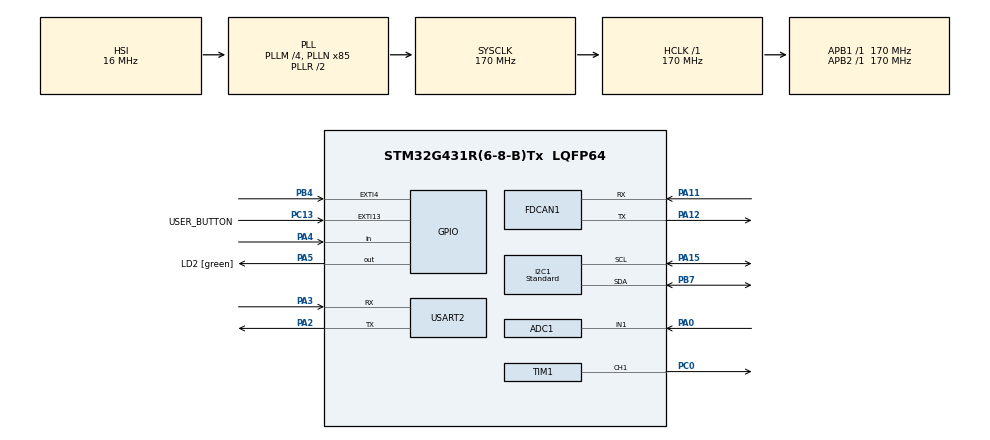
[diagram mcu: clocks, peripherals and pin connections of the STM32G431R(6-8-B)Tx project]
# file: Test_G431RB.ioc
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ADC1.Channel-2\#ChannelRegularConversion=ADC_CHANNEL_1
ADC1.NbrOfConversionFlag=1
ADC1.OffsetNumber-2\#ChannelRegularConversion=ADC_OFFSET_NONE
ADC1.Rank-2\#ChannelRegularConversion=1
ADC1.SamplingTime-2\#ChannelRegularConversion=ADC_SAMPLETIME_2CYCLES_5
ADC1.master=1
FDCAN1.AutoRetransmission=ENABLE
FDCAN1.CalculateBaudRateNominal=500000
FDCAN1.CalculateTimeBitNominal=2000
FDCAN1.CalculateTimeQuantumNominal=100.0
FDCAN1.DataSyncJumpWidth=4
FDCAN1.DataTimeSeg1=5
FDCAN1.DataTimeSeg2=4
FDCAN1.NominalPrescaler=17
FDCAN1.NominalTimeSeg1=16
FDCAN1.NominalTimeSeg2=3
FDCAN1.StdFiltersNbr=1
FDCAN1.TransmitPause=ENABLE
I2C1.I2C_Speed_Mode=I2C_Standard
I2C1.Timing=0x30A0A7FB
Mcu.Family=STM32G4
Mcu.Name=STM32G431R(6-8-B)Tx
Mcu.Package=LQFP64
NVIC.EXTI15_10_IRQn=true\:0\:0\:false\:false\:true\:true\:true\:true
NVIC.EXTI4_IRQn=true\:0\:0\:false\:false\:true\:true\:true\:true
NVIC.FDCAN1_IT0_IRQn=true\:0\:0\:false\:false\:true\:true\:true\:true
NVIC.PriorityGroup=NVIC_PRIORITYGROUP_4
NVIC.TIM2_IRQn=true\:0\:0\:false\:false\:true\:true\:true\:true
PA0.Mode=IN1-Single-Ended
PA0.Signal=ADC1_IN1
PA11.Mode=FDCAN_Activate
PA11.Signal=FDCAN1_RX
PA12.Mode=FDCAN_Activate
PA12.Signal=FDCAN1_TX
PA13.GPIO_Label=T_SWDIO
PA13.Mode=Serial_Wire
PA13.Signal=SYS_JTMS-SWDIO
PA14.GPIO_Label=T_SWCLK
PA14.Mode=Serial_Wire
PA14.Signal=SYS_JTCK-SWCLK
PA15.GPIO_Pu=GPIO_PULLUP
PA15.Mode=I2C
PA15.Signal=I2C1_SCL
PA2.Mode=Asynchronous
PA2.Signal=USART2_TX
PA3.Mode=Asynchronous
PA3.Signal=USART2_RX
PA4.Signal=GPIO_Input
PA5.GPIO_Label=LD2 [green]
PA5.Signal=GPIO_Output
PB3.GPIO_Label=T_SWO
PB3.Signal=SYS_JTDO-SWO
PB4.GPIO_ModeDefaultEXTI=GPIO_MODE_IT_RISING_FALLING
PB4.Signal=GPXTI4
PB7.GPIO_Pu=GPIO_PULLUP
PB7.Mode=I2C
PB7.Signal=I2C1_SDA
PC0.GPIO_PuPd=GPIO_PULLDOWN
PC0.Signal=S_TIM1_CH1
PC13.GPIO_Label=USER_BUTTON
PC13.Signal=GPXTI13
PC14-OSC32_IN.Mode=LSE-External-Oscillator
PC14-OSC32_IN.Signal=RCC_OSC32_IN
PC15-OSC32_OUT.Mode=LSE-External-Oscillator
PC15-OSC32_OUT.Signal=RCC_OSC32_OUT
PF0-OSC_IN.Mode=HSE-External-Oscillator
PF0-OSC_IN.Signal=RCC_OSC_IN
PF1-OSC_OUT.Mode=HSE-External-Oscillator
PF1-OSC_OUT.Signal=RCC_OSC_OUT
ProjectManager.HeapSize=0x200
ProjectManager.StackSize=0x400
ProjectManager.TargetToolchain=STM32CubeIDE
RCC.ADC12Freq_Value=170000000
RCC.AHBFreq_Value=170000000
RCC.APB1Freq_Value=170000000
RCC.APB1TimFreq_Value=170000000
RCC.APB2Freq_Value=170000000
RCC.APB2TimFreq_Value=170000000
RCC.CortexFreq_Value=170000000
RCC.EXTERNAL_CLOCK_VALUE=12288000
RCC.HCLKFreq_Value=170000000
RCC.HSE_VALUE=24000000
RCC.HSI48_VALUE=48000000
RCC.HSI_VALUE=16000000
RCC.PLLM=RCC_PLLM_DIV4
RCC.PLLN=85
RCC.RTCClockSelection=RCC_RTCCLKSOURCE_LSE
RCC.SYSCLKFreq_VALUE=170000000
RCC.SYSCLKSource=RCC_SYSCLKSOURCE_PLLCLK
RCC.USBFreq_Value=170000000
RCC.VCOOutputFreq_Value=340000000
SH.S_TIM1_CH1.0=TIM1_CH1,PWM Generation1 CH1
TIM1.Channel-PWM\ Generation1\ CH1=TIM_CHANNEL_1
TIM1.PeriodNoDither=99
TIM1.Prescaler=84
TIM2.PeriodNoDither=50000-1
TIM2.Prescaler=170-1
USART2.VirtualMode-Asynchronous=VM_ASYNC
VP_SYS_VS_DBSignals.Mode=DisableDeadBatterySignals
VP_TIM1_VS_ClockSourceINT.Mode=Internal
VP_TIM2_VS_ClockSourceINT.Mode=Internal
board=NUCLEO-G431RB

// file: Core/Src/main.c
/* USER CODE BEGIN Header */
/**
  ******************************************************************************
  * @file           : main.c
  * @brief          : Main program body
  ******************************************************************************
  * @attention
  *
  * Copyright (c) 2023 STMicroelectronics.
  * All rights reserved.
  *
  * This software is licensed under terms that can be found in the LICENSE file
  * in the root directory of this software component.
  * If no LICENSE file comes with this software, it is provided AS-IS.
  *
  ******************************************************************************
  */
/* USER CODE END Header */
#include "main.h"

ADC_HandleTypeDef hadc1;

FDCAN_HandleTypeDef hfdcan1;

I2C_HandleTypeDef hi2c1;

TIM_HandleTypeDef htim1;
TIM_HandleTypeDef htim2;

UART_HandleTypeDef huart2;

void SystemClock_Config(void);
static void MX_GPIO_Init(void);
static void MX_TIM1_Init(void);
static void MX_ADC1_Init(void);
static void MX_I2C1_Init(void);
static void MX_TIM2_Init(void);
static void MX_USART2_UART_Init(void);
static void MX_FDCAN1_Init(void);

int main(void)
{

  /* MCU Configuration--------------------------------------------------------*/

  /* Reset of all peripherals, Initializes the Flash interface and the Systick. */
  HAL_Init();

  /* Configure the system clock */
  SystemClock_Config();

  /* Initialize all configured peripherals */
  MX_GPIO_Init();
  MX_TIM1_Init();
  MX_ADC1_Init();
  MX_I2C1_Init();
  MX_TIM2_Init();
  MX_USART2_UART_Init();
  MX_FDCAN1_Init();
  /* USER CODE BEGIN 2 */

  // printInfo();
  // toggleUserLED();

#if defined(TEST_BH1750)
  BH1750_Init(CONT_HI_RES, ADDR_0V, &hi2c1);
#endif  // TEST_BH1750

#if defined(TEST_TCS3472)
  HALStatus = TCS3472_setup(&tcs3472, &hi2c1, TCS34725_I2C_ADDRESS);
  if (HALStatus != HAL_OK) {
    xlog("%s:%d, TCS3472 not ready \n\r", __func__, __LINE__);
  } else {
    xlog("%s:%d, TCS3472 ready \n\r", __func__, __LINE__);
    TCS3472_enable(&tcs3472);
  }
#endif  // TEST_TCS3472

#if defined(TEST_ICM42607x)
  ICM42607x_Init();
#endif  // TEST_ICM42607x

  ConfigFDCAN();

  xlog("%s:%d, init finish... \n\r", __func__, __LINE__);

  /* USER CODE END 2 */

  /* Infinite loop */
  /* USER CODE BEGIN WHILE */
  while (1)
  {

#if defined(USE_PS2)
    if (task_PS2) {
      task_PS2 = false;
      PS2_Read();
      PS2_control();
    }
#endif // USE_PS2

    /* USER CODE END WHILE */

    /* USER CODE BEGIN 3 */

#if defined(TEST_CAN)
    getFWVersion();
    // HAL_Delay(1);
#endif // TEST_CAN

#if defined(TEST_TCS3472)
    // test TCS3472
    // TCS3472_readColor(&tcs3472, &colorData);
    // xlog("%s:%d, r:%d, g:%d, b:%d, c:%d \n\r", __func__, __LINE__, colorData.r, colorData.g, colorData.b, colorData.c);
    // float factor = colorData.c / 255.0;
    // xlog("%s:%d, r:%.1f, g:%.1f, b:%.1f \n\r", __func__, __LINE__, colorData.r/factor, colorData.g/factor, colorData.b/factor);
    // HAL_Delay(1000);
#endif // TEST_TCS3472

#if defined(TEST_ICM42607x)

    // xlog("%s:%d ========================\n\r", __func__, __LINE__);
    // ICM42607x_WhoAmI();
    // ICM42607x_ReadTemperature();
    // ICM42607x_ReadTemperatureMultiple();
    // ICM42607x_ReadAccel();
    // ICM42607x_ReadAccelMultiple();
    // ICM42607x_ReadGyro();
    // ICM42607x_ReadGyroMultiple();
    ICM42607x_ReadAccelGyro();
    ICM42607x_QuaternionSolution();
    HAL_Delay(50);

#endif  // TEST_ICM42607x
  }
  /* USER CODE END 3 */
}

void SystemClock_Config(void)
{
  RCC_OscInitTypeDef RCC_OscInitStruct = {0};
  RCC_ClkInitTypeDef RCC_ClkInitStruct = {0};

  /** Configure the main internal regulator output voltage
  */
  HAL_PWREx_ControlVoltageScaling(PWR_REGULATOR_VOLTAGE_SCALE1_BOOST);

  /** Initializes the RCC Oscillators according to the specified parameters
  * in the RCC_OscInitTypeDef structure.
  */
  RCC_OscInitStruct.OscillatorType = RCC_OSCILLATORTYPE_HSI;
  RCC_OscInitStruct.HSIState = RCC_HSI_ON;
  RCC_OscInitStruct.HSICalibrationValue = RCC_HSICALIBRATION_DEFAULT;
  RCC_OscInitStruct.PLL.PLLState = RCC_PLL_ON;
  RCC_OscInitStruct.PLL.PLLSource = RCC_PLLSOURCE_HSI;
  RCC_OscInitStruct.PLL.PLLM = RCC_PLLM_DIV4;
  RCC_OscInitStruct.PLL.PLLN = 85;
  RCC_OscInitStruct.PLL.PLLP = RCC_PLLP_DIV2;
  RCC_OscInitStruct.PLL.PLLQ = RCC_PLLQ_DIV2;
  RCC_OscInitStruct.PLL.PLLR = RCC_PLLR_DIV2;
  if (HAL_RCC_OscConfig(&RCC_OscInitStruct) != HAL_OK)
  {
    Error_Handler();
  }

  /** Initializes the CPU, AHB and APB buses clocks
  */
  RCC_ClkInitStruct.ClockType = RCC_CLOCKTYPE_HCLK|RCC_CLOCKTYPE_SYSCLK
                              |RCC_CLOCKTYPE_PCLK1|RCC_CLOCKTYPE_PCLK2;
  RCC_ClkInitStruct.SYSCLKSource = RCC_SYSCLKSOURCE_PLLCLK;
  RCC_ClkInitStruct.AHBCLKDivider = RCC_SYSCLK_DIV1;
  RCC_ClkInitStruct.APB1CLKDivider = RCC_HCLK_DIV1;
  RCC_ClkInitStruct.APB2CLKDivider = RCC_HCLK_DIV1;

  if (HAL_RCC_ClockConfig(&RCC_ClkInitStruct, FLASH_LATENCY_4) != HAL_OK)
  {
    Error_Handler();
  }
}

static void MX_ADC1_Init(void)
{

  ADC_MultiModeTypeDef multimode = {0};
  ADC_ChannelConfTypeDef sConfig = {0};

  /** Common config
  */
  hadc1.Instance = ADC1;
  hadc1.Init.ClockPrescaler = ADC_CLOCK_SYNC_PCLK_DIV4;
  hadc1.Init.Resolution = ADC_RESOLUTION_12B;
  hadc1.Init.DataAlign = ADC_DATAALIGN_RIGHT;
  hadc1.Init.GainCompensation = 0;
  hadc1.Init.ScanConvMode = ADC_SCAN_DISABLE;
  hadc1.Init.EOCSelection = ADC_EOC_SINGLE_CONV;
  hadc1.Init.LowPowerAutoWait = DISABLE;
  hadc1.Init.ContinuousConvMode = DISABLE;
  hadc1.Init.NbrOfConversion = 1;
  hadc1.Init.DiscontinuousConvMode = DISABLE;
  hadc1.Init.ExternalTrigConv = ADC_SOFTWARE_START;
  hadc1.Init.ExternalTrigConvEdge = ADC_EXTERNALTRIGCONVEDGE_NONE;
  hadc1.Init.DMAContinuousRequests = DISABLE;
  hadc1.Init.Overrun = ADC_OVR_DATA_PRESERVED;
  hadc1.Init.OversamplingMode = DISABLE;
  if (HAL_ADC_Init(&hadc1) != HAL_OK)
  {
    Error_Handler();
  }

  /** Configure the ADC multi-mode
  */
  multimode.Mode = ADC_MODE_INDEPENDENT;
  if (HAL_ADCEx_MultiModeConfigChannel(&hadc1, &multimode) != HAL_OK)
  {
    Error_Handler();
  }

  /** Configure Regular Channel
  */
  sConfig.Channel = ADC_CHANNEL_1;
  sConfig.Rank = ADC_REGULAR_RANK_1;
  sConfig.SamplingTime = ADC_SAMPLETIME_2CYCLES_5;
  sConfig.SingleDiff = ADC_SINGLE_ENDED;
  sConfig.OffsetNumber = ADC_OFFSET_NONE;
  sConfig.Offset = 0;
  if (HAL_ADC_ConfigChannel(&hadc1, &sConfig) != HAL_OK)
  {
    Error_Handler();
  }

}

static void MX_FDCAN1_Init(void)
{

  hfdcan1.Instance = FDCAN1;
  hfdcan1.Init.ClockDivider = FDCAN_CLOCK_DIV1;
  hfdcan1.Init.FrameFormat = FDCAN_FRAME_CLASSIC;
  hfdcan1.Init.Mode = FDCAN_MODE_NORMAL;
  hfdcan1.Init.AutoRetransmission = ENABLE;
  hfdcan1.Init.TransmitPause = ENABLE;
  hfdcan1.Init.ProtocolException = DISABLE;
  hfdcan1.Init.NominalPrescaler = 17;
  hfdcan1.Init.NominalSyncJumpWidth = 1;
  hfdcan1.Init.NominalTimeSeg1 = 16;
  hfdcan1.Init.NominalTimeSeg2 = 3;
  hfdcan1.Init.DataPrescaler = 1;
  hfdcan1.Init.DataSyncJumpWidth = 4;
  hfdcan1.Init.DataTimeSeg1 = 5;
  hfdcan1.Init.DataTimeSeg2 = 4;
  hfdcan1.Init.StdFiltersNbr = 1;
  hfdcan1.Init.ExtFiltersNbr = 0;
  hfdcan1.Init.TxFifoQueueMode = FDCAN_TX_FIFO_OPERATION;
  if (HAL_FDCAN_Init(&hfdcan1) != HAL_OK)
  {
    Error_Handler();
  }

}

static void MX_I2C1_Init(void)
{

  hi2c1.Instance = I2C1;
  hi2c1.Init.Timing = 0x30A0A7FB;
  hi2c1.Init.OwnAddress1 = 0;
  hi2c1.Init.AddressingMode = I2C_ADDRESSINGMODE_7BIT;
  hi2c1.Init.DualAddressMode = I2C_DUALADDRESS_DISABLE;
  hi2c1.Init.OwnAddress2 = 0;
  hi2c1.Init.OwnAddress2Masks = I2C_OA2_NOMASK;
  hi2c1.Init.GeneralCallMode = I2C_GENERALCALL_DISABLE;
  hi2c1.Init.NoStretchMode = I2C_NOSTRETCH_DISABLE;
  if (HAL_I2C_Init(&hi2c1) != HAL_OK)
  {
    Error_Handler();
  }

  /** Configure Analogue filter
  */
  if (HAL_I2CEx_ConfigAnalogFilter(&hi2c1, I2C_ANALOGFILTER_ENABLE) != HAL_OK)
  {
    Error_Handler();
  }

  /** Configure Digital filter
  */
  if (HAL_I2CEx_ConfigDigitalFilter(&hi2c1, 0) != HAL_OK)
  {
    Error_Handler();
  }

}

static void MX_TIM1_Init(void)
{

  TIM_ClockConfigTypeDef sClockSourceConfig = {0};
  TIM_MasterConfigTypeDef sMasterConfig = {0};
  TIM_OC_InitTypeDef sConfigOC = {0};
  TIM_BreakDeadTimeConfigTypeDef sBreakDeadTimeConfig = {0};

  htim1.Instance = TIM1;
  htim1.Init.Prescaler = 84;
  htim1.Init.CounterMode = TIM_COUNTERMODE_UP;
  htim1.Init.Period = 99;
  htim1.Init.ClockDivision = TIM_CLOCKDIVISION_DIV1;
  htim1.Init.RepetitionCounter = 0;
  htim1.Init.AutoReloadPreload = TIM_AUTORELOAD_PRELOAD_DISABLE;
  if (HAL_TIM_Base_Init(&htim1) != HAL_OK)
  {
    Error_Handler();
  }
  sClockSourceConfig.ClockSource = TIM_CLOCKSOURCE_INTERNAL;
  if (HAL_TIM_ConfigClockSource(&htim1, &sClockSourceConfig) != HAL_OK)
  {
    Error_Handler();
  }
  if (HAL_TIM_PWM_Init(&htim1) != HAL_OK)
  {
    Error_Handler();
  }
  sMasterConfig.MasterOutputTrigger = TIM_TRGO_RESET;
  sMasterConfig.MasterOutputTrigger2 = TIM_TRGO2_RESET;
  sMasterConfig.MasterSlaveMode = TIM_MASTERSLAVEMODE_DISABLE;
  if (HAL_TIMEx_MasterConfigSynchronization(&htim1, &sMasterConfig) != HAL_OK)
  {
    Error_Handler();
  }
  sConfigOC.OCMode = TIM_OCMODE_PWM1;
  sConfigOC.Pulse = 0;
  sConfigOC.OCPolarity = TIM_OCPOLARITY_HIGH;
  sConfigOC.OCNPolarity = TIM_OCNPOLARITY_HIGH;
  sConfigOC.OCFastMode = TIM_OCFAST_DISABLE;
  sConfigOC.OCIdleState = TIM_OCIDLESTATE_RESET;
  sConfigOC.OCNIdleState = TIM_OCNIDLESTATE_RESET;
  if (HAL_TIM_PWM_ConfigChannel(&htim1, &sConfigOC, TIM_CHANNEL_1) != HAL_OK)
  {
    Error_Handler();
  }
  sBreakDeadTimeConfig.OffStateRunMode = TIM_OSSR_DISABLE;
  sBreakDeadTimeConfig.OffStateIDLEMode = TIM_OSSI_DISABLE;
  sBreakDeadTimeConfig.LockLevel = TIM_LOCKLEVEL_OFF;
  sBreakDeadTimeConfig.DeadTime = 0;
  sBreakDeadTimeConfig.BreakState = TIM_BREAK_DISABLE;
  sBreakDeadTimeConfig.BreakPolarity = TIM_BREAKPOLARITY_HIGH;
  sBreakDeadTimeConfig.BreakFilter = 0;
  sBreakDeadTimeConfig.BreakAFMode = TIM_BREAK_AFMODE_INPUT;
  sBreakDeadTimeConfig.Break2State = TIM_BREAK2_DISABLE;
  sBreakDeadTimeConfig.Break2Polarity = TIM_BREAK2POLARITY_HIGH;
  sBreakDeadTimeConfig.Break2Filter = 0;
  sBreakDeadTimeConfig.Break2AFMode = TIM_BREAK_AFMODE_INPUT;
  sBreakDeadTimeConfig.AutomaticOutput = TIM_AUTOMATICOUTPUT_DISABLE;
  if (HAL_TIMEx_ConfigBreakDeadTime(&htim1, &sBreakDeadTimeConfig) != HAL_OK)
  {
    Error_Handler();
  }
  HAL_TIM_MspPostInit(&htim1);

}

static void MX_TIM2_Init(void)
{

  TIM_ClockConfigTypeDef sClockSourceConfig = {0};
  TIM_MasterConfigTypeDef sMasterConfig = {0};

  htim2.Instance = TIM2;
  htim2.Init.Prescaler = 170-1;
  htim2.Init.CounterMode = TIM_COUNTERMODE_UP;
  htim2.Init.Period = 49999;
  htim2.Init.ClockDivision = TIM_CLOCKDIVISION_DIV1;
  htim2.Init.AutoReloadPreload = TIM_AUTORELOAD_PRELOAD_DISABLE;
  if (HAL_TIM_Base_Init(&htim2) != HAL_OK)
  {
    Error_Handler();
  }
  sClockSourceConfig.ClockSource = TIM_CLOCKSOURCE_INTERNAL;
  if (HAL_TIM_ConfigClockSource(&htim2, &sClockSourceConfig) != HAL_OK)
  {
    Error_Handler();
  }
  sMasterConfig.MasterOutputTrigger = TIM_TRGO_RESET;
  sMasterConfig.MasterSlaveMode = TIM_MASTERSLAVEMODE_DISABLE;
  if (HAL_TIMEx_MasterConfigSynchronization(&htim2, &sMasterConfig) != HAL_OK)
  {
    Error_Handler();
  }

}

static void MX_USART2_UART_Init(void)
{

  huart2.Instance = USART2;
  huart2.Init.BaudRate = 115200;
  huart2.Init.WordLength = UART_WORDLENGTH_8B;
  huart2.Init.StopBits = UART_STOPBITS_1;
  huart2.Init.Parity = UART_PARITY_NONE;
  huart2.Init.Mode = UART_MODE_TX_RX;
  huart2.Init.HwFlowCtl = UART_HWCONTROL_NONE;
  huart2.Init.OverSampling = UART_OVERSAMPLING_16;
  huart2.Init.OneBitSampling = UART_ONE_BIT_SAMPLE_DISABLE;
  huart2.Init.ClockPrescaler = UART_PRESCALER_DIV1;
  huart2.AdvancedInit.AdvFeatureInit = UART_ADVFEATURE_NO_INIT;
  if (HAL_UART_Init(&huart2) != HAL_OK)
  {
    Error_Handler();
  }
  if (HAL_UARTEx_SetTxFifoThreshold(&huart2, UART_TXFIFO_THRESHOLD_1_8) != HAL_OK)
  {
    Error_Handler();
  }
  if (HAL_UARTEx_SetRxFifoThreshold(&huart2, UART_RXFIFO_THRESHOLD_1_8) != HAL_OK)
  {
    Error_Handler();
  }
  if (HAL_UARTEx_DisableFifoMode(&huart2) != HAL_OK)
  {
    Error_Handler();
  }

}

static void MX_GPIO_Init(void)
{
  GPIO_InitTypeDef GPIO_InitStruct = {0};

  /* GPIO Ports Clock Enable */
  __HAL_RCC_GPIOC_CLK_ENABLE();
  __HAL_RCC_GPIOF_CLK_ENABLE();
  __HAL_RCC_GPIOA_CLK_ENABLE();
  __HAL_RCC_GPIOB_CLK_ENABLE();

  /*Configure GPIO pin Output Level */
  HAL_GPIO_WritePin(LD2_GPIO_Port, LD2_Pin, GPIO_PIN_RESET);

  /*Configure GPIO pin : USER_BUTTON_Pin */
  GPIO_InitStruct.Pin = USER_BUTTON_Pin;
  GPIO_InitStruct.Mode = GPIO_MODE_IT_RISING;
  GPIO_InitStruct.Pull = GPIO_NOPULL;
  HAL_GPIO_Init(USER_BUTTON_GPIO_Port, &GPIO_InitStruct);

  /*Configure GPIO pin : PA4 */
  GPIO_InitStruct.Pin = GPIO_PIN_4;
  GPIO_InitStruct.Mode = GPIO_MODE_INPUT;
  GPIO_InitStruct.Pull = GPIO_NOPULL;
  HAL_GPIO_Init(GPIOA, &GPIO_InitStruct);

  /*Configure GPIO pin : LD2_Pin */
  GPIO_InitStruct.Pin = LD2_Pin;
  GPIO_InitStruct.Mode = GPIO_MODE_OUTPUT_PP;
  GPIO_InitStruct.Pull = GPIO_NOPULL;
  GPIO_InitStruct.Speed = GPIO_SPEED_FREQ_LOW;
  HAL_GPIO_Init(LD2_GPIO_Port, &GPIO_InitStruct);

  /*Configure GPIO pin : PB4 */
  GPIO_InitStruct.Pin = GPIO_PIN_4;
  GPIO_InitStruct.Mode = GPIO_MODE_IT_RISING_FALLING;
  GPIO_InitStruct.Pull = GPIO_NOPULL;
  HAL_GPIO_Init(GPIOB, &GPIO_InitStruct);

  /* EXTI interrupt init*/
  HAL_NVIC_SetPriority(EXTI4_IRQn, 0, 0);
  HAL_NVIC_EnableIRQ(EXTI4_IRQn);

  HAL_NVIC_SetPriority(EXTI15_10_IRQn, 0, 0);
  HAL_NVIC_EnableIRQ(EXTI15_10_IRQn);

}

/* USER CODE BEGIN 4 */
void HAL_UART_RxCpltCallback(UART_HandleTypeDef *huart)
{
  //
}

/* USER CODE END 4 */

void Error_Handler(void)
{
  __disable_irq();
  while (1)
  {
  }
}
